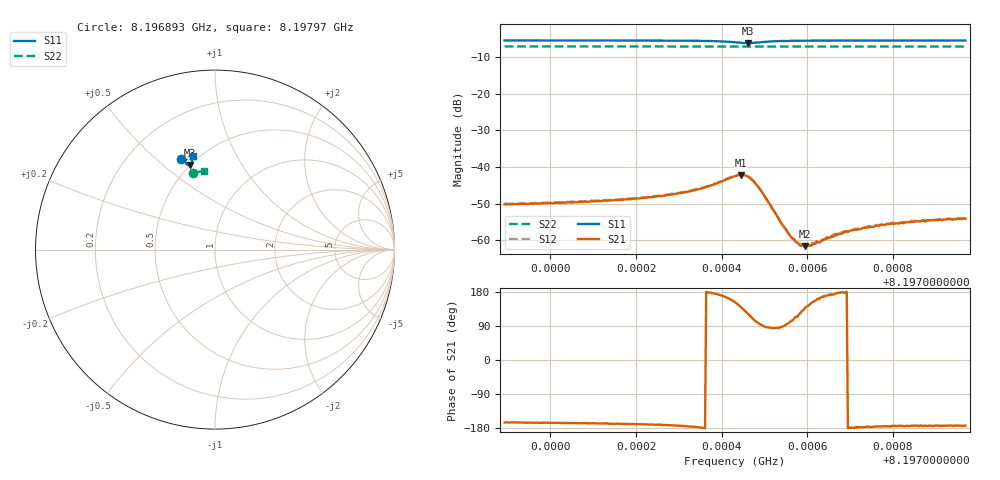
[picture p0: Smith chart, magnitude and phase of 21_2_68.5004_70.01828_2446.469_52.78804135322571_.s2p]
#  HZ  S  RI  R  50.00
! Rohde & Schwarz Vector Network Analyzer
! Rohde-Schwarz,ZNB20-2Port,1311601062101988,3.16
! Created: UTC 3/20/2024, 4:49:25 PM
! freq[Hz]  re:S11  im:S11  re:S21  im:S21  re:S12  im:S12  re:S22  im:S22
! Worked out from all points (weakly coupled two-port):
!   401 points, 8.196893 GHz to 8.19797 GHz, reference 50 ohm
!   highest |S21| = -42.12 dB at 8.197445 GHz (marker M1); lowest = -61.5 dB at 8.197596 GHz (marker M2)
!   lowest |S11| = -6.1 dB at 8.197461 GHz (marker M3), VSWR 2.94, Z = 24.8 + j30.9 ohm
!   |S11| at or under -10 dB: nowhere
!   |S22| runs from -7.1 to -7.0 dB; largest |S21 - S12| = 0.00042
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8.1968928e9  -0.1871 0.5025  -0.003 -0.000815  -0.00309 -0.000708  -0.1204 0.4275
8.1970732e9  -0.1734 0.5069  -0.00327 -0.000755  -0.00334 -0.000651  -0.1106 0.4299
8.1971621e9  -0.166 0.5089  -0.00351 -0.000724  -0.00361 -0.000595  -0.1056 0.431
8.1972537e9  -0.1571 0.5104  -0.00397 -0.000674  -0.00404 -0.000501  -0.1005 0.4318
8.1973183e9  -0.1489 0.5108  -0.00458 -0.000449  -0.00466 -0.000223  -0.097 0.4328
8.1973479e9  -0.1439 0.5102  -0.00501 -0.000188  -0.00513 7.63e-06  -0.0951 0.433
8.1974314e9  -0.1272 0.4897  -0.00669 0.00347  -0.00661 0.00387  -0.0905 0.4334
8.1974449e9  -0.1301 0.4803  -0.006 0.00503  -0.00589 0.00539  -0.0899 0.4331
8.197461e9  -0.1414 0.4721  -0.00396 0.00631  -0.00375 0.00657  -0.0892 0.433
8.1974745e9  -0.1531 0.473  -0.00194 0.00616  -0.00164 0.00631  -0.0888 0.4332
8.1974907e9  -0.1621 0.4807  -0.000305 0.00487  -0.000127 0.00493  -0.0881 0.4336
8.1975418e9  -0.1619 0.5016  6.25e-05 0.00163  0.000103 0.00164  -0.0854 0.4347
8.1975607e9  -0.1592 0.5053  -0.000228 0.00112  -0.000186 0.00115  -0.0843 0.435
8.1975795e9  -0.1566 0.5079  -0.000424 0.000802  -0.000415 0.0008  -0.0831 0.4351
8.1975957e9  -0.1544 0.5096  -0.000631 0.000554  -0.000597 0.000605  -0.0824 0.4352
8.1976119e9  -0.1524 0.5111  -0.000759 0.000404  -0.000805 0.000465  -0.0812 0.4355
8.1976657e9  -0.1463 0.5141  -0.00117 0.00012  -0.00121 0.000153  -0.0782 0.4359
8.1977034e9  -0.1427 0.5155  -0.00136 -3.16e-05  -0.0014 3.38e-05  -0.0762 0.4363
8.1977438e9  -0.139 0.5166  -0.0015 -0.000113  -0.00158 -5.22e-05  -0.0739 0.4366
8.1977923e9  -0.1348 0.518  -0.00166 -0.000129  -0.00168 -8.54e-05  -0.0711 0.4368
8.1978704e9  -0.1284 0.5199  -0.00186 -0.000183  -0.00188 -0.000145  -0.0667 0.4376
8.1979701e9  -0.1208 0.5216  -0.00197 -0.000231  -0.002 -0.000152  -0.0612 0.4383
